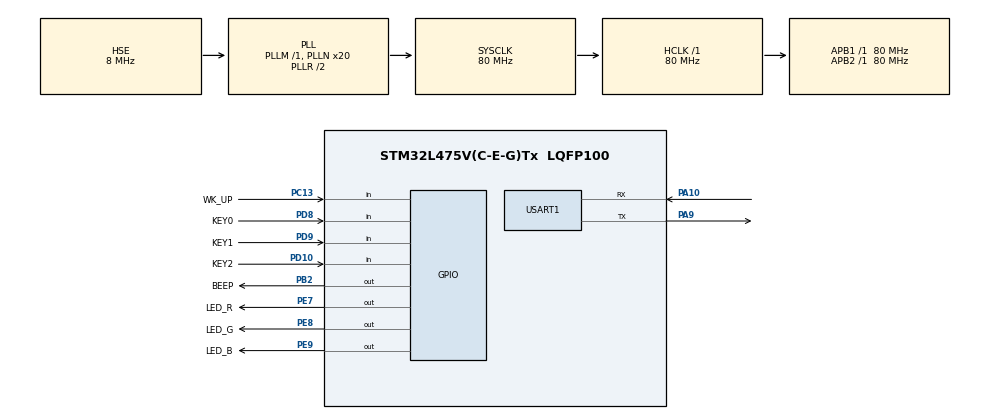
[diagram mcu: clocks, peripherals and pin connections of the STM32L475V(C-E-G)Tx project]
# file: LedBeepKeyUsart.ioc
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Mcu.Family=STM32L4
Mcu.Name=STM32L475V(C-E-G)Tx
Mcu.Package=LQFP100
NVIC.PriorityGroup=NVIC_PRIORITYGROUP_2
NVIC.USART1_IRQn=true\:3\:0\:true\:false\:true\:true\:true\:true
PA10.Mode=Asynchronous
PA10.Signal=USART1_RX
PA9.Mode=Asynchronous
PA9.Signal=USART1_TX
PB2.GPIO_Label=BEEP
PB2.GPIO_ModeDefaultOutputPP=GPIO_MODE_OUTPUT_PP
PB2.GPIO_PuPd=GPIO_PULLDOWN
PB2.PinState=GPIO_PIN_RESET
PB2.Signal=GPIO_Output
PC13.GPIO_Label=WK_UP
PC13.GPIO_PuPd=GPIO_PULLDOWN
PC13.Signal=GPIO_Input
PD10.GPIO_Label=KEY2
PD10.GPIO_PuPd=GPIO_PULLUP
PD10.Signal=GPIO_Input
PD8.GPIO_Label=KEY0
PD8.GPIO_PuPd=GPIO_PULLUP
PD8.Signal=GPIO_Input
PD9.GPIO_Label=KEY1
PD9.GPIO_PuPd=GPIO_PULLUP
PD9.Signal=GPIO_Input
PE7.GPIO_Label=LED_R
PE7.GPIO_PuPd=GPIO_PULLUP
PE7.GPIO_Speed=GPIO_SPEED_FREQ_HIGH
PE7.PinState=GPIO_PIN_SET
PE7.Signal=GPIO_Output
PE8.GPIO_Label=LED_G
PE8.GPIO_ModeDefaultOutputPP=GPIO_MODE_OUTPUT_PP
PE8.GPIO_PuPd=GPIO_PULLUP
PE8.GPIO_Speed=GPIO_SPEED_FREQ_HIGH
PE8.PinState=GPIO_PIN_SET
PE8.Signal=GPIO_Output
PE9.GPIO_Label=LED_B
PE9.GPIO_ModeDefaultOutputPP=GPIO_MODE_OUTPUT_PP
PE9.GPIO_PuPd=GPIO_PULLUP
PE9.GPIO_Speed=GPIO_SPEED_FREQ_HIGH
PE9.PinState=GPIO_PIN_SET
PE9.Signal=GPIO_Output
PH0-OSC_IN\ (PH0).Mode=HSE-External-Oscillator
PH0-OSC_IN\ (PH0).Signal=RCC_OSC_IN
PH1-OSC_OUT\ (PH1).Mode=HSE-External-Oscillator
PH1-OSC_OUT\ (PH1).Signal=RCC_OSC_OUT
ProjectManager.HeapSize=0x200
ProjectManager.StackSize=0x400
ProjectManager.TargetToolchain=MDK-ARM V5.32
RCC.ADCFreq_Value=32000000
RCC.AHBFreq_Value=80000000
RCC.APB1Freq_Value=80000000
RCC.APB1TimFreq_Value=80000000
RCC.APB2Freq_Value=80000000
RCC.APB2TimFreq_Value=80000000
RCC.CortexFreq_Value=80000000
RCC.HCLKFreq_Value=80000000
RCC.HSE_VALUE=8000000
RCC.HSI_VALUE=16000000
RCC.LSE_VALUE=32768
RCC.MSI_VALUE=4000000
RCC.PLLN=20
RCC.PLLSourceVirtual=RCC_PLLSOURCE_HSE
RCC.SYSCLKFreq_VALUE=80000000
RCC.SYSCLKSource=RCC_SYSCLKSOURCE_PLLCLK
RCC.USBFreq_Value=32000000
RCC.VCOOutputFreq_Value=160000000
USART1.VirtualMode-Asynchronous=VM_ASYNC
board=custom

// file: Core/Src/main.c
/* USER CODE BEGIN Header */
/**
  ******************************************************************************
  * @file           : main.c
  * @brief          : Main program body
  ******************************************************************************
  * @attention
  *
  * Copyright (c) 2023 STMicroelectronics.
  * All rights reserved.
  *
  * This software is licensed under terms that can be found in the LICENSE file
  * in the root directory of this software component.
  * If no LICENSE file comes with this software, it is provided AS-IS.
  *
  ******************************************************************************
  */
/* USER CODE END Header */
#include "main.h"
#include "usart.h"
#include "gpio.h"

/* USER CODE BEGIN Includes */

#include "led.h"
#include "beep.h"
#include "key.h"
#include "string.h"

/* USER CODE END Includes */

/* USER CODE BEGIN PD */

#define RXBUFFERSIZE 256	//最大接收字节数

/* USER CODE END PD */

/* USER CODE BEGIN PV */

char RxBuffer[RXBUFFERSIZE];	//接收数据
uint8_t aRxBuffer;				//接收中断缓冲
uint8_t Uart1_Rx_Cnt=0;			//接收缓冲计数

/* USER CODE END PV */

void SystemClock_Config(void);

int main(void)
{

  /* MCU Configuration--------------------------------------------------------*/

  /* Reset of all peripherals, Initializes the Flash interface and the Systick. */
  HAL_Init();

  /* Configure the system clock */
  SystemClock_Config();

  /* Initialize all configured peripherals */
  MX_GPIO_Init();
  MX_USART1_UART_Init();
  /* USER CODE BEGIN 2 */

  HAL_UART_Receive_IT(&huart1, (uint8_t *)&aRxBuffer, 1);
  //  BeepBlink();
  LedBlink();

  /* USER CODE END 2 */

  /* Infinite loop */
  /* USER CODE BEGIN WHILE */

//  printf("测试\r\n");

  HAL_UART_Transmit(&huart1, (uint8_t *)"测试ing\r\n", 10,0xFFFF);

  printf("单片机串口将会发送您返回的内容！！！\r\n");

  while (1)
  {
    /* USER CODE END WHILE */

    /* USER CODE BEGIN 3 */

	  int16_t key=Key_Scan(0);

	  Key_Led(key);

	  HAL_Delay(10);

  }
  /* USER CODE END 3 */
}

void SystemClock_Config(void)
{
  RCC_OscInitTypeDef RCC_OscInitStruct = {0};
  RCC_ClkInitTypeDef RCC_ClkInitStruct = {0};

  /** Configure the main internal regulator output voltage
  */
  if (HAL_PWREx_ControlVoltageScaling(PWR_REGULATOR_VOLTAGE_SCALE1) != HAL_OK)
  {
    Error_Handler();
  }

  /** Initializes the RCC Oscillators according to the specified parameters
  * in the RCC_OscInitTypeDef structure.
  */
  RCC_OscInitStruct.OscillatorType = RCC_OSCILLATORTYPE_HSE;
  RCC_OscInitStruct.HSEState = RCC_HSE_ON;
  RCC_OscInitStruct.PLL.PLLState = RCC_PLL_ON;
  RCC_OscInitStruct.PLL.PLLSource = RCC_PLLSOURCE_HSE;
  RCC_OscInitStruct.PLL.PLLM = 1;
  RCC_OscInitStruct.PLL.PLLN = 20;
  RCC_OscInitStruct.PLL.PLLP = RCC_PLLP_DIV7;
  RCC_OscInitStruct.PLL.PLLQ = RCC_PLLQ_DIV2;
  RCC_OscInitStruct.PLL.PLLR = RCC_PLLR_DIV2;
  if (HAL_RCC_OscConfig(&RCC_OscInitStruct) != HAL_OK)
  {
    Error_Handler();
  }

  /** Initializes the CPU, AHB and APB buses clocks
  */
  RCC_ClkInitStruct.ClockType = RCC_CLOCKTYPE_HCLK|RCC_CLOCKTYPE_SYSCLK
                              |RCC_CLOCKTYPE_PCLK1|RCC_CLOCKTYPE_PCLK2;
  RCC_ClkInitStruct.SYSCLKSource = RCC_SYSCLKSOURCE_PLLCLK;
  RCC_ClkInitStruct.AHBCLKDivider = RCC_SYSCLK_DIV1;
  RCC_ClkInitStruct.APB1CLKDivider = RCC_HCLK_DIV1;
  RCC_ClkInitStruct.APB2CLKDivider = RCC_HCLK_DIV1;

  if (HAL_RCC_ClockConfig(&RCC_ClkInitStruct, FLASH_LATENCY_4) != HAL_OK)
  {
    Error_Handler();
  }
}

/* USER CODE BEGIN 4 */

void HAL_UART_RxCpltCallback(UART_HandleTypeDef *huart)
{
  /* Prevent unused argument(s) compilation warning */
  UNUSED(huart);
  /* NOTE: This function Should not be modified, when the callback is needed,
           the HAL_UART_TxCpltCallback could be implemented in the user file
   */

	if(Uart1_Rx_Cnt >= 255)  //溢出判断
	{
		Uart1_Rx_Cnt = 0;
		memset(RxBuffer,0x00,sizeof(RxBuffer));
		HAL_UART_Transmit(&huart1, (uint8_t *)"数据溢出", 10,0xFFFF);

	}
	else
	{
		RxBuffer[Uart1_Rx_Cnt++] = aRxBuffer;   //接收数据转存

		if((RxBuffer[Uart1_Rx_Cnt-1] == 0x0A)&&(RxBuffer[Uart1_Rx_Cnt-2] == 0x0D)) //判断结束位
		{
			printf("您发送的信息是：\r\n");
			HAL_UART_Transmit(&huart1, (uint8_t *)&RxBuffer, Uart1_Rx_Cnt,0xFFFF); //将收到的信息发送出去
            while(HAL_UART_GetState(&huart1) == HAL_UART_STATE_BUSY_TX);//检测UART发送结束
			Uart1_Rx_Cnt = 0;
			memset(RxBuffer,0x00,sizeof(RxBuffer)); //清空数组
		}
	}

	HAL_UART_Receive_IT(&huart1, (uint8_t *)&aRxBuffer, 1);   //再开启接收中断
}

/* USER CODE END 4 */

void Error_Handler(void)
{
  __disable_irq();
  while (1)
  {
  }
}
